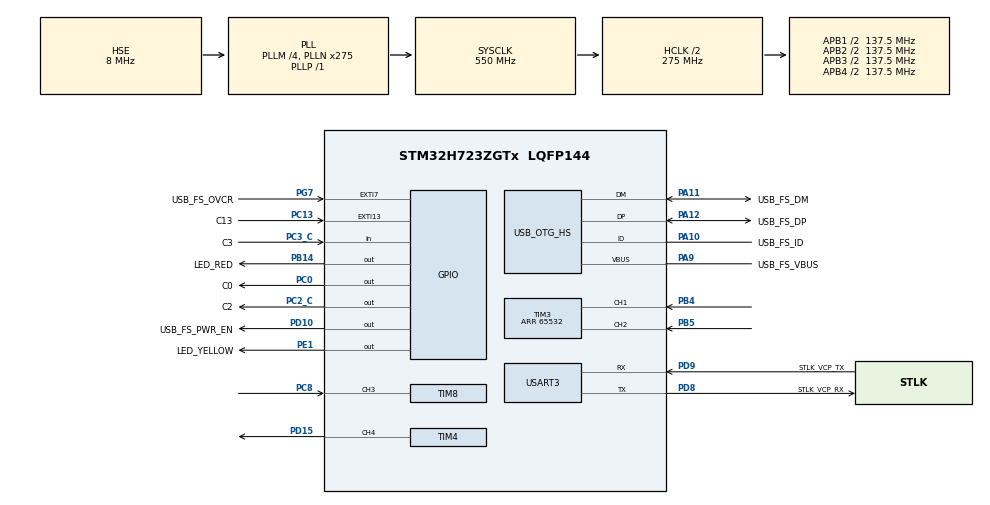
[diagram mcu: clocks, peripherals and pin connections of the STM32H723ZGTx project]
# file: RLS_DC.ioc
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Mcu.Family=STM32H7
Mcu.Name=STM32H723ZGTx
Mcu.Package=LQFP144
NVIC.EXTI15_10_IRQn=true\:0\:0\:false\:false\:true\:true\:true
NVIC.PriorityGroup=NVIC_PRIORITYGROUP_4
NVIC.TIM23_IRQn=true\:0\:0\:false\:false\:true\:true\:true
NVIC.TIM24_IRQn=true\:0\:0\:false\:false\:true\:true\:true
NVIC.TIM2_IRQn=true\:0\:0\:false\:false\:true\:true\:true
PA10.GPIO_Label=USB_FS_ID
PA10.Mode=OTG/Dual-Role-Device-FS
PA10.Signal=USB_OTG_HS_ID
PA11.GPIO_Label=USB_FS_DM
PA11.Mode=OTG/Dual-Role-Device-FS
PA11.Signal=USB_OTG_HS_DM
PA12.GPIO_Label=USB_FS_DP
PA12.Mode=OTG/Dual-Role-Device-FS
PA12.Signal=USB_OTG_HS_DP
PA13(JTMS/SWDIO).GPIO_Label=SWDIO
PA13(JTMS/SWDIO).Mode=Trace_Asynchronous_SW
PA13(JTMS/SWDIO).Signal=DEBUG_JTMS-SWDIO
PA14(JTCK/SWCLK).GPIO_Label=SWCLK
PA14(JTCK/SWCLK).Mode=Trace_Asynchronous_SW
PA14(JTCK/SWCLK).Signal=DEBUG_JTCK-SWCLK
PA2.GPIO_Label=RMII_MDIO
PA2.Signal=ETH_MDIO
PA7.GPIO_Label=RMII_CRS_DV
PA7.Signal=ETH_CRS_DV
PA9.GPIO_Label=USB_FS_VBUS
PA9.Mode=Activate_VBUS_FS
PA9.Signal=USB_OTG_HS_VBUS
PB13.GPIO_Label=RMII_TXD1
PB13.Signal=ETH_TXD1
PB14.GPIO_Label=LED_RED
PB14.Signal=GPIO_Output
PB3(JTDO/TRACESWO).GPIO_Label=SWO
PB3(JTDO/TRACESWO).Mode=Trace_Asynchronous_SW
PB3(JTDO/TRACESWO).Signal=DEBUG_JTDO-SWO
PB4(NJTRST).Signal=S_TIM3_CH1
PB5.Signal=S_TIM3_CH2
PC0.GPIO_Label=C0
PC0.Signal=GPIO_Output
PC1.GPIO_Label=RMII_MDC
PC1.Signal=ETH_MDC
PC13.GPIO_Label=C13
PC13.Signal=GPXTI13
PC14-OSC32_IN.Mode=LSE-External-Oscillator
PC14-OSC32_IN.Signal=RCC_OSC32_IN
PC15-OSC32_OUT.Mode=LSE-External-Oscillator
PC15-OSC32_OUT.Signal=RCC_OSC32_OUT
PC2_C.GPIO_Label=C2
PC2_C.Signal=GPIO_Output
PC3_C.GPIO_Label=C3
PC3_C.Signal=GPIO_Input
PC4.GPIO_Label=RMII_RXD0
PC4.Signal=ETH_RXD0
PC5.GPIO_Label=RMII_RXD1
PC5.Signal=ETH_RXD1
PC8.Signal=S_TIM8_CH3
PD10.GPIO_Label=USB_FS_PWR_EN
PD10.Signal=GPIO_Output
PD15.Signal=S_TIM4_CH4
PD8.GPIO_Label=STLK_VCP_RX
PD8.Mode=Asynchronous
PD8.Signal=USART3_TX
PD9.GPIO_Label=STLK_VCP_TX
PD9.Mode=Asynchronous
PD9.Signal=USART3_RX
PE1.GPIO_Label=LED_YELLOW
PE1.Signal=GPIO_Output
PG11.GPIO_Label=RMII_TX_EN
PG11.Signal=ETH_TX_EN
PG13.GPIO_Label=RMII_TXD0
PG13.Signal=ETH_TXD0
PG7.GPIO_Label=USB_FS_OVCR
PG7.Signal=GPXTI7
PH0-OSC_IN.GPIO_Label=MCO
PH0-OSC_IN.Mode=HSE-External-Clock-Source
PH0-OSC_IN.Signal=RCC_OSC_IN
PH1-OSC_OUT.Signal=RCC_OSC_OUT
ProjectManager.HeapSize=0x200
ProjectManager.StackSize=0x400
ProjectManager.TargetToolchain=STM32CubeIDE
RCC.ADCFreq_Value=76000000
RCC.APB1Freq_Value=137500000
RCC.APB2Freq_Value=137500000
RCC.APB3Freq_Value=137500000
RCC.APB4Freq_Value=137500000
RCC.CortexFreq_Value=550000000
RCC.D1PPRE=RCC_APB3_DIV2
RCC.D2PPRE1=RCC_APB1_DIV2
RCC.D2PPRE2=RCC_APB2_DIV2
RCC.D3PPRE=RCC_APB4_DIV2
RCC.DIVM1=4
RCC.DIVM2=1
RCC.DIVN1=275
RCC.DIVN2=19
RCC.DIVP1=1
RCC.DIVQ1=4
RCC.HCLKFreq_Value=275000000
RCC.HPRE=RCC_HCLK_DIV2
RCC.HSE_VALUE=8000000
RCC.PLLFRACN=0
RCC.PLLSourceVirtual=RCC_PLLSOURCE_HSE
RCC.SYSCLKFreq_VALUE=550000000
RCC.SYSCLKSource=RCC_SYSCLKSOURCE_PLLCLK
RCC.USBCLockSelection=RCC_USBCLKSOURCE_HSI48
RCC.USBFreq_Value=48000000
SH.S_TIM3_CH1.0=TIM3_CH1,Encoder_Interface
SH.S_TIM3_CH2.0=TIM3_CH2,Encoder_Interface
SH.S_TIM4_CH4.0=TIM4_CH4,PWM Generation4 CH4
SH.S_TIM8_CH3.0=TIM8_CH3,Input_Capture3_from_TI3
TIM2.Period=4999
TIM2.Prescaler=549
TIM23.Period=9999
TIM23.Prescaler=549
TIM24.Period=14
TIM24.Prescaler=65530
TIM3.EncoderMode=TIM_ENCODERMODE_TI12
TIM3.IC1Filter=10
TIM3.IC2Filter=10
TIM3.Period=65532
TIM4.Channel-PWM\ Generation4\ CH4=TIM_CHANNEL_4
TIM4.Period=27499
TIM4.Prescaler=99
TIM4.Pulse-PWM\ Generation4\ CH4=0
TIM5.Period=99999
TIM5.Prescaler=5499
TIM8.Channel-Input_Capture3_from_TI3=TIM_CHANNEL_3
TIM8.ICFilter_CH3=10
TIM8.Prescaler=9999
TIM8.RepetitionCounter=10
USART3.VirtualMode-Asynchronous=VM_ASYNC
VP_TIM23_VS_ClockSourceINT.Mode=Internal
VP_TIM24_VS_ClockSourceINT.Mode=Internal
VP_TIM2_VS_ClockSourceINT.Mode=Internal
VP_TIM4_VS_ClockSourceINT.Mode=Internal
VP_TIM5_VS_ClockSourceINT.Mode=Internal
VP_TIM8_VS_ClockSourceINT.Mode=Internal
board=NUCLEO-H723ZG

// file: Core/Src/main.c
/* USER CODE BEGIN Header */
/**
  ******************************************************************************
  * @file           : main.c
  * @brief          : Main program body
  ******************************************************************************
  * @attention
  *
  * <h2><center>&copy; Copyright (c) 2022 STMicroelectronics.
  * All rights reserved.</center></h2>
  *
  * This software component is licensed by ST under BSD 3-Clause license,
  * the "License"; You may not use this file except in compliance with the
  * License. You may obtain a copy of the License at:
  *                        opensource.org/licenses/BSD-3-Clause
  *
  ******************************************************************************
  */
/* USER CODE END Header */
#include "main.h"

/* USER CODE BEGIN Includes */
#define ARM_MATH_CM7
#include "arm_math.h"
#include "RLS.h"

#include "stdint.h"
#include <math.h>
#include <stdbool.h>
#include <stdlib.h>

/* USER CODE END Includes */

TIM_HandleTypeDef htim2;
TIM_HandleTypeDef htim3;
TIM_HandleTypeDef htim4;
TIM_HandleTypeDef htim5;
TIM_HandleTypeDef htim8;
TIM_HandleTypeDef htim23;
TIM_HandleTypeDef htim24;

UART_HandleTypeDef huart3;

/* USER CODE BEGIN PV */
int t = 0 ; // First teta calculation at t == sysorder
int sysorder = 2;

extern arm_matrix_instance_f32 teta;
extern arm_matrix_instance_f32 Xk;
extern arm_matrix_instance_f32 Pn;

float speed_aq (void);

void HAL_TIM_PeriodElapsedCallback(TIM_HandleTypeDef * htim);

float speed = 0;
float input_val = 0;
float Fe = 100;
double DutyC = 0;
int ccr_reg = 0;
int ARR = 27500;
int CCR_old =0;
int CCR_new = 0;

/* USER CODE END PV */

void SystemClock_Config(void);
static void MX_GPIO_Init(void);
static void MX_USART3_UART_Init(void);
static void MX_USB_OTG_HS_USB_Init(void);
static void MX_TIM4_Init(void);
static void MX_TIM3_Init(void);
static void MX_TIM8_Init(void);
static void MX_TIM2_Init(void);
static void MX_TIM5_Init(void);
static void MX_TIM23_Init(void);
static void MX_TIM24_Init(void);

/* USER CODE BEGIN 0 */

float32_t output_est =0;
float * X;

/* USER CODE END 0 */

int main(void)
{
  /* USER CODE BEGIN 1 */
	X = (float*) malloc((2*sysorder)* sizeof(float));
	__HAL_TIM_SET_COMPARE(&htim4,TIM_CHANNEL_4, ccr_reg);

  /* USER CODE END 1 */

  /* MCU Configuration--------------------------------------------------------*/

  /* Reset of all peripherals, Initializes the Flash interface and the Systick. */
  HAL_Init();

  /* Configure the system clock */
  SystemClock_Config();

  /* Initialize all configured peripherals */
  MX_GPIO_Init();
  MX_USART3_UART_Init();
  MX_USB_OTG_HS_USB_Init();
  MX_TIM4_Init();
  MX_TIM3_Init();
  MX_TIM8_Init();
  MX_TIM2_Init();
  MX_TIM5_Init();
  MX_TIM23_Init();
  MX_TIM24_Init();
  /* USER CODE BEGIN 2 */
  init_rls (sysorder);
  init_param_calcul_teta(sysorder);

  HAL_GPIO_WritePin(GPIOC,GPIO_PIN_0,GPIO_PIN_RESET);
  HAL_GPIO_WritePin(GPIOC,GPIO_PIN_2,GPIO_PIN_SET);
  HAL_TIM_PWM_Start(&htim4,TIM_CHANNEL_4);
  HAL_TIM_Encoder_Start(&htim3,TIM_CHANNEL_ALL);
  HAL_TIM_IC_Start (&htim8,TIM_CHANNEL_3);
  HAL_TIM_Base_Start_IT(&htim2);

  /* USER CODE END 2 */

  /* Infinite loop */
  /* USER CODE BEGIN WHILE */
  while (1)
  {
	  speed = speed_aq();
	  output_est =  rep_sys ();

    /* USER CODE END WHILE */

  }
}

void SystemClock_Config(void)
{
  RCC_OscInitTypeDef RCC_OscInitStruct = {0};
  RCC_ClkInitTypeDef RCC_ClkInitStruct = {0};

  /** Supply configuration update enable
  */
  HAL_PWREx_ConfigSupply(PWR_LDO_SUPPLY);
  /** Configure the main internal regulator output voltage
  */
  __HAL_PWR_VOLTAGESCALING_CONFIG(PWR_REGULATOR_VOLTAGE_SCALE0);

  while(!__HAL_PWR_GET_FLAG(PWR_FLAG_VOSRDY)) {}
  /** Initializes the RCC Oscillators according to the specified parameters
  * in the RCC_OscInitTypeDef structure.
  */
  RCC_OscInitStruct.OscillatorType = RCC_OSCILLATORTYPE_HSI48|RCC_OSCILLATORTYPE_HSE;
  RCC_OscInitStruct.HSEState = RCC_HSE_BYPASS;
  RCC_OscInitStruct.HSI48State = RCC_HSI48_ON;
  RCC_OscInitStruct.PLL.PLLState = RCC_PLL_ON;
  RCC_OscInitStruct.PLL.PLLSource = RCC_PLLSOURCE_HSE;
  RCC_OscInitStruct.PLL.PLLM = 4;
  RCC_OscInitStruct.PLL.PLLN = 275;
  RCC_OscInitStruct.PLL.PLLP = 1;
  RCC_OscInitStruct.PLL.PLLQ = 4;
  RCC_OscInitStruct.PLL.PLLR = 2;
  RCC_OscInitStruct.PLL.PLLRGE = RCC_PLL1VCIRANGE_1;
  RCC_OscInitStruct.PLL.PLLVCOSEL = RCC_PLL1VCOWIDE;
  RCC_OscInitStruct.PLL.PLLFRACN = 0;
  if (HAL_RCC_OscConfig(&RCC_OscInitStruct) != HAL_OK)
  {
    Error_Handler();
  }
  /** Initializes the CPU, AHB and APB buses clocks
  */
  RCC_ClkInitStruct.ClockType = RCC_CLOCKTYPE_HCLK|RCC_CLOCKTYPE_SYSCLK
                              |RCC_CLOCKTYPE_PCLK1|RCC_CLOCKTYPE_PCLK2
                              |RCC_CLOCKTYPE_D3PCLK1|RCC_CLOCKTYPE_D1PCLK1;
  RCC_ClkInitStruct.SYSCLKSource = RCC_SYSCLKSOURCE_PLLCLK;
  RCC_ClkInitStruct.SYSCLKDivider = RCC_SYSCLK_DIV1;
  RCC_ClkInitStruct.AHBCLKDivider = RCC_HCLK_DIV2;
  RCC_ClkInitStruct.APB3CLKDivider = RCC_APB3_DIV2;
  RCC_ClkInitStruct.APB1CLKDivider = RCC_APB1_DIV2;
  RCC_ClkInitStruct.APB2CLKDivider = RCC_APB2_DIV2;
  RCC_ClkInitStruct.APB4CLKDivider = RCC_APB4_DIV2;

  if (HAL_RCC_ClockConfig(&RCC_ClkInitStruct, FLASH_LATENCY_3) != HAL_OK)
  {
    Error_Handler();
  }
}

static void MX_TIM2_Init(void)
{

  TIM_ClockConfigTypeDef sClockSourceConfig = {0};
  TIM_MasterConfigTypeDef sMasterConfig = {0};

  htim2.Instance = TIM2;
  htim2.Init.Prescaler = 549;
  htim2.Init.CounterMode = TIM_COUNTERMODE_UP;
  htim2.Init.Period = 4999;
  htim2.Init.ClockDivision = TIM_CLOCKDIVISION_DIV1;
  htim2.Init.AutoReloadPreload = TIM_AUTORELOAD_PRELOAD_DISABLE;
  if (HAL_TIM_Base_Init(&htim2) != HAL_OK)
  {
    Error_Handler();
  }
  sClockSourceConfig.ClockSource = TIM_CLOCKSOURCE_INTERNAL;
  if (HAL_TIM_ConfigClockSource(&htim2, &sClockSourceConfig) != HAL_OK)
  {
    Error_Handler();
  }
  sMasterConfig.MasterOutputTrigger = TIM_TRGO_RESET;
  sMasterConfig.MasterSlaveMode = TIM_MASTERSLAVEMODE_DISABLE;
  if (HAL_TIMEx_MasterConfigSynchronization(&htim2, &sMasterConfig) != HAL_OK)
  {
    Error_Handler();
  }

}

static void MX_TIM3_Init(void)
{

  TIM_Encoder_InitTypeDef sConfig = {0};
  TIM_MasterConfigTypeDef sMasterConfig = {0};

  htim3.Instance = TIM3;
  htim3.Init.Prescaler = 0;
  htim3.Init.CounterMode = TIM_COUNTERMODE_UP;
  htim3.Init.Period = 65532;
  htim3.Init.ClockDivision = TIM_CLOCKDIVISION_DIV1;
  htim3.Init.AutoReloadPreload = TIM_AUTORELOAD_PRELOAD_DISABLE;
  sConfig.EncoderMode = TIM_ENCODERMODE_TI12;
  sConfig.IC1Polarity = TIM_ICPOLARITY_RISING;
  sConfig.IC1Selection = TIM_ICSELECTION_DIRECTTI;
  sConfig.IC1Prescaler = TIM_ICPSC_DIV1;
  sConfig.IC1Filter = 10;
  sConfig.IC2Polarity = TIM_ICPOLARITY_RISING;
  sConfig.IC2Selection = TIM_ICSELECTION_DIRECTTI;
  sConfig.IC2Prescaler = TIM_ICPSC_DIV1;
  sConfig.IC2Filter = 10;
  if (HAL_TIM_Encoder_Init(&htim3, &sConfig) != HAL_OK)
  {
    Error_Handler();
  }
  sMasterConfig.MasterOutputTrigger = TIM_TRGO_RESET;
  sMasterConfig.MasterSlaveMode = TIM_MASTERSLAVEMODE_DISABLE;
  if (HAL_TIMEx_MasterConfigSynchronization(&htim3, &sMasterConfig) != HAL_OK)
  {
    Error_Handler();
  }

}

static void MX_TIM4_Init(void)
{

  TIM_ClockConfigTypeDef sClockSourceConfig = {0};
  TIM_MasterConfigTypeDef sMasterConfig = {0};
  TIM_OC_InitTypeDef sConfigOC = {0};

  htim4.Instance = TIM4;
  htim4.Init.Prescaler = 99;
  htim4.Init.CounterMode = TIM_COUNTERMODE_UP;
  htim4.Init.Period = 27499;
  htim4.Init.ClockDivision = TIM_CLOCKDIVISION_DIV1;
  htim4.Init.AutoReloadPreload = TIM_AUTORELOAD_PRELOAD_DISABLE;
  if (HAL_TIM_Base_Init(&htim4) != HAL_OK)
  {
    Error_Handler();
  }
  sClockSourceConfig.ClockSource = TIM_CLOCKSOURCE_INTERNAL;
  if (HAL_TIM_ConfigClockSource(&htim4, &sClockSourceConfig) != HAL_OK)
  {
    Error_Handler();
  }
  if (HAL_TIM_PWM_Init(&htim4) != HAL_OK)
  {
    Error_Handler();
  }
  sMasterConfig.MasterOutputTrigger = TIM_TRGO_RESET;
  sMasterConfig.MasterSlaveMode = TIM_MASTERSLAVEMODE_DISABLE;
  if (HAL_TIMEx_MasterConfigSynchronization(&htim4, &sMasterConfig) != HAL_OK)
  {
    Error_Handler();
  }
  sConfigOC.OCMode = TIM_OCMODE_PWM1;
  sConfigOC.Pulse = 0;
  sConfigOC.OCPolarity = TIM_OCPOLARITY_HIGH;
  sConfigOC.OCFastMode = TIM_OCFAST_DISABLE;
  if (HAL_TIM_PWM_ConfigChannel(&htim4, &sConfigOC, TIM_CHANNEL_4) != HAL_OK)
  {
    Error_Handler();
  }
  HAL_TIM_MspPostInit(&htim4);

}

static void MX_TIM5_Init(void)
{

  TIM_ClockConfigTypeDef sClockSourceConfig = {0};
  TIM_MasterConfigTypeDef sMasterConfig = {0};

  htim5.Instance = TIM5;
  htim5.Init.Prescaler = 5499;
  htim5.Init.CounterMode = TIM_COUNTERMODE_UP;
  htim5.Init.Period = 99999;
  htim5.Init.ClockDivision = TIM_CLOCKDIVISION_DIV1;
  htim5.Init.AutoReloadPreload = TIM_AUTORELOAD_PRELOAD_DISABLE;
  if (HAL_TIM_Base_Init(&htim5) != HAL_OK)
  {
    Error_Handler();
  }
  sClockSourceConfig.ClockSource = TIM_CLOCKSOURCE_INTERNAL;
  if (HAL_TIM_ConfigClockSource(&htim5, &sClockSourceConfig) != HAL_OK)
  {
    Error_Handler();
  }
  sMasterConfig.MasterOutputTrigger = TIM_TRGO_RESET;
  sMasterConfig.MasterSlaveMode = TIM_MASTERSLAVEMODE_DISABLE;
  if (HAL_TIMEx_MasterConfigSynchronization(&htim5, &sMasterConfig) != HAL_OK)
  {
    Error_Handler();
  }

}

static void MX_TIM8_Init(void)
{

  TIM_ClockConfigTypeDef sClockSourceConfig = {0};
  TIM_MasterConfigTypeDef sMasterConfig = {0};
  TIM_IC_InitTypeDef sConfigIC = {0};

  htim8.Instance = TIM8;
  htim8.Init.Prescaler = 9999;
  htim8.Init.CounterMode = TIM_COUNTERMODE_UP;
  htim8.Init.Period = 65535;
  htim8.Init.ClockDivision = TIM_CLOCKDIVISION_DIV1;
  htim8.Init.RepetitionCounter = 10;
  htim8.Init.AutoReloadPreload = TIM_AUTORELOAD_PRELOAD_DISABLE;
  if (HAL_TIM_Base_Init(&htim8) != HAL_OK)
  {
    Error_Handler();
  }
  sClockSourceConfig.ClockSource = TIM_CLOCKSOURCE_INTERNAL;
  if (HAL_TIM_ConfigClockSource(&htim8, &sClockSourceConfig) != HAL_OK)
  {
    Error_Handler();
  }
  if (HAL_TIM_IC_Init(&htim8) != HAL_OK)
  {
    Error_Handler();
  }
  sMasterConfig.MasterOutputTrigger = TIM_TRGO_RESET;
  sMasterConfig.MasterOutputTrigger2 = TIM_TRGO2_RESET;
  sMasterConfig.MasterSlaveMode = TIM_MASTERSLAVEMODE_DISABLE;
  if (HAL_TIMEx_MasterConfigSynchronization(&htim8, &sMasterConfig) != HAL_OK)
  {
    Error_Handler();
  }
  sConfigIC.ICPolarity = TIM_INPUTCHANNELPOLARITY_RISING;
  sConfigIC.ICSelection = TIM_ICSELECTION_DIRECTTI;
  sConfigIC.ICPrescaler = TIM_ICPSC_DIV1;
  sConfigIC.ICFilter = 10;
  if (HAL_TIM_IC_ConfigChannel(&htim8, &sConfigIC, TIM_CHANNEL_3) != HAL_OK)
  {
    Error_Handler();
  }

}

static void MX_TIM23_Init(void)
{

  TIM_ClockConfigTypeDef sClockSourceConfig = {0};
  TIM_MasterConfigTypeDef sMasterConfig = {0};

  htim23.Instance = TIM23;
  htim23.Init.Prescaler = 549;
  htim23.Init.CounterMode = TIM_COUNTERMODE_UP;
  htim23.Init.Period = 9999;
  htim23.Init.ClockDivision = TIM_CLOCKDIVISION_DIV1;
  htim23.Init.AutoReloadPreload = TIM_AUTORELOAD_PRELOAD_DISABLE;
  if (HAL_TIM_Base_Init(&htim23) != HAL_OK)
  {
    Error_Handler();
  }
  sClockSourceConfig.ClockSource = TIM_CLOCKSOURCE_INTERNAL;
  if (HAL_TIM_ConfigClockSource(&htim23, &sClockSourceConfig) != HAL_OK)
  {
    Error_Handler();
  }
  sMasterConfig.MasterOutputTrigger = TIM_TRGO_RESET;
  sMasterConfig.MasterSlaveMode = TIM_MASTERSLAVEMODE_DISABLE;
  if (HAL_TIMEx_MasterConfigSynchronization(&htim23, &sMasterConfig) != HAL_OK)
  {
    Error_Handler();
  }

}

static void MX_TIM24_Init(void)
{

  TIM_ClockConfigTypeDef sClockSourceConfig = {0};
  TIM_MasterConfigTypeDef sMasterConfig = {0};

  htim24.Instance = TIM24;
  htim24.Init.Prescaler = 65530;
  htim24.Init.CounterMode = TIM_COUNTERMODE_UP;
  htim24.Init.Period = 14;
  htim24.Init.ClockDivision = TIM_CLOCKDIVISION_DIV1;
  htim24.Init.AutoReloadPreload = TIM_AUTORELOAD_PRELOAD_DISABLE;
  if (HAL_TIM_Base_Init(&htim24) != HAL_OK)
  {
    Error_Handler();
  }
  sClockSourceConfig.ClockSource = TIM_CLOCKSOURCE_INTERNAL;
  if (HAL_TIM_ConfigClockSource(&htim24, &sClockSourceConfig) != HAL_OK)
  {
    Error_Handler();
  }
  sMasterConfig.MasterOutputTrigger = TIM_TRGO_RESET;
  sMasterConfig.MasterSlaveMode = TIM_MASTERSLAVEMODE_DISABLE;
  if (HAL_TIMEx_MasterConfigSynchronization(&htim24, &sMasterConfig) != HAL_OK)
  {
    Error_Handler();
  }

}

static void MX_USART3_UART_Init(void)
{

  huart3.Instance = USART3;
  huart3.Init.BaudRate = 115200;
  huart3.Init.WordLength = UART_WORDLENGTH_8B;
  huart3.Init.StopBits = UART_STOPBITS_1;
  huart3.Init.Parity = UART_PARITY_NONE;
  huart3.Init.Mode = UART_MODE_TX_RX;
  huart3.Init.HwFlowCtl = UART_HWCONTROL_NONE;
  huart3.Init.OverSampling = UART_OVERSAMPLING_16;
  huart3.Init.OneBitSampling = UART_ONE_BIT_SAMPLE_DISABLE;
  huart3.Init.ClockPrescaler = UART_PRESCALER_DIV1;
  huart3.AdvancedInit.AdvFeatureInit = UART_ADVFEATURE_NO_INIT;
  if (HAL_UART_Init(&huart3) != HAL_OK)
  {
    Error_Handler();
  }
  if (HAL_UARTEx_SetTxFifoThreshold(&huart3, UART_TXFIFO_THRESHOLD_1_8) != HAL_OK)
  {
    Error_Handler();
  }
  if (HAL_UARTEx_SetRxFifoThreshold(&huart3, UART_RXFIFO_THRESHOLD_1_8) != HAL_OK)
  {
    Error_Handler();
  }
  if (HAL_UARTEx_DisableFifoMode(&huart3) != HAL_OK)
  {
    Error_Handler();
  }

}

static void MX_USB_OTG_HS_USB_Init(void)
{

}

static void MX_GPIO_Init(void)
{
  GPIO_InitTypeDef GPIO_InitStruct = {0};

  /* GPIO Ports Clock Enable */
  __HAL_RCC_GPIOC_CLK_ENABLE();
  __HAL_RCC_GPIOH_CLK_ENABLE();
  __HAL_RCC_GPIOA_CLK_ENABLE();
  __HAL_RCC_GPIOB_CLK_ENABLE();
  __HAL_RCC_GPIOD_CLK_ENABLE();
  __HAL_RCC_GPIOG_CLK_ENABLE();
  __HAL_RCC_GPIOE_CLK_ENABLE();

  /*Configure GPIO pin Output Level */
  HAL_GPIO_WritePin(GPIOC, C0_Pin|C2_Pin, GPIO_PIN_RESET);

  /*Configure GPIO pin Output Level */
  HAL_GPIO_WritePin(LED_RED_GPIO_Port, LED_RED_Pin, GPIO_PIN_RESET);

  /*Configure GPIO pin Output Level */
  HAL_GPIO_WritePin(USB_FS_PWR_EN_GPIO_Port, USB_FS_PWR_EN_Pin, GPIO_PIN_RESET);

  /*Configure GPIO pin Output Level */
  HAL_GPIO_WritePin(LED_YELLOW_GPIO_Port, LED_YELLOW_Pin, GPIO_PIN_RESET);

  /*Configure GPIO pin : C13_Pin */
  GPIO_InitStruct.Pin = C13_Pin;
  GPIO_InitStruct.Mode = GPIO_MODE_IT_RISING;
  GPIO_InitStruct.Pull = GPIO_NOPULL;
  HAL_GPIO_Init(C13_GPIO_Port, &GPIO_InitStruct);

  /*Configure GPIO pins : C0_Pin C2_Pin */
  GPIO_InitStruct.Pin = C0_Pin|C2_Pin;
  GPIO_InitStruct.Mode = GPIO_MODE_OUTPUT_PP;
  GPIO_InitStruct.Pull = GPIO_NOPULL;
  GPIO_InitStruct.Speed = GPIO_SPEED_FREQ_LOW;
  HAL_GPIO_Init(GPIOC, &GPIO_InitStruct);

  /*Configure GPIO pins : RMII_MDC_Pin RMII_RXD0_Pin RMII_RXD1_Pin */
  GPIO_InitStruct.Pin = RMII_MDC_Pin|RMII_RXD0_Pin|RMII_RXD1_Pin;
  GPIO_InitStruct.Mode = GPIO_MODE_AF_PP;
  GPIO_InitStruct.Pull = GPIO_NOPULL;
  GPIO_InitStruct.Speed = GPIO_SPEED_FREQ_LOW;
  GPIO_InitStruct.Alternate = GPIO_AF11_ETH;
  HAL_GPIO_Init(GPIOC, &GPIO_InitStruct);

  /*Configure GPIO pin : C3_Pin */
  GPIO_InitStruct.Pin = C3_Pin;
  GPIO_InitStruct.Mode = GPIO_MODE_INPUT;
  GPIO_InitStruct.Pull = GPIO_NOPULL;
  HAL_GPIO_Init(C3_GPIO_Port, &GPIO_InitStruct);

  /*Configure GPIO pins : RMII_MDIO_Pin RMII_CRS_DV_Pin */
  GPIO_InitStruct.Pin = RMII_MDIO_Pin|RMII_CRS_DV_Pin;
  GPIO_InitStruct.Mode = GPIO_MODE_AF_PP;
  GPIO_InitStruct.Pull = GPIO_NOPULL;
  GPIO_InitStruct.Speed = GPIO_SPEED_FREQ_LOW;
  GPIO_InitStruct.Alternate = GPIO_AF11_ETH;
  HAL_GPIO_Init(GPIOA, &GPIO_InitStruct);

  /*Configure GPIO pin : RMII_TXD1_Pin */
  GPIO_InitStruct.Pin = RMII_TXD1_Pin;
  GPIO_InitStruct.Mode = GPIO_MODE_AF_PP;
  GPIO_InitStruct.Pull = GPIO_NOPULL;
  GPIO_InitStruct.Speed = GPIO_SPEED_FREQ_LOW;
  GPIO_InitStruct.Alternate = GPIO_AF11_ETH;
  HAL_GPIO_Init(RMII_TXD1_GPIO_Port, &GPIO_InitStruct);

  /*Configure GPIO pin : LED_RED_Pin */
  GPIO_InitStruct.Pin = LED_RED_Pin;
  GPIO_InitStruct.Mode = GPIO_MODE_OUTPUT_PP;
  GPIO_InitStruct.Pull = GPIO_NOPULL;
  GPIO_InitStruct.Speed = GPIO_SPEED_FREQ_LOW;
  HAL_GPIO_Init(LED_RED_GPIO_Port, &GPIO_InitStruct);

  /*Configure GPIO pin : USB_FS_PWR_EN_Pin */
  GPIO_InitStruct.Pin = USB_FS_PWR_EN_Pin;
  GPIO_InitStruct.Mode = GPIO_MODE_OUTPUT_PP;
  GPIO_InitStruct.Pull = GPIO_NOPULL;
  GPIO_InitStruct.Speed = GPIO_SPEED_FREQ_LOW;
  HAL_GPIO_Init(USB_FS_PWR_EN_GPIO_Port, &GPIO_InitStruct);

  /*Configure GPIO pin : USB_FS_OVCR_Pin */
  GPIO_InitStruct.Pin = USB_FS_OVCR_Pin;
  GPIO_InitStruct.Mode = GPIO_MODE_IT_RISING;
  GPIO_InitStruct.Pull = GPIO_NOPULL;
  HAL_GPIO_Init(USB_FS_OVCR_GPIO_Port, &GPIO_InitStruct);

  /*Configure GPIO pin : USB_FS_VBUS_Pin */
  GPIO_InitStruct.Pin = USB_FS_VBUS_Pin;
  GPIO_InitStruct.Mode = GPIO_MODE_INPUT;
  GPIO_InitStruct.Pull = GPIO_NOPULL;
  HAL_GPIO_Init(USB_FS_VBUS_GPIO_Port, &GPIO_InitStruct);

  /*Configure GPIO pin : USB_FS_ID_Pin */
  GPIO_InitStruct.Pin = USB_FS_ID_Pin;
  GPIO_InitStruct.Mode = GPIO_MODE_AF_PP;
  GPIO_InitStruct.Pull = GPIO_NOPULL;
  GPIO_InitStruct.Speed = GPIO_SPEED_FREQ_LOW;
  GPIO_InitStruct.Alternate = GPIO_AF10_OTG1_HS;
  HAL_GPIO_Init(USB_FS_ID_GPIO_Port, &GPIO_InitStruct);

  /*Configure GPIO pins : RMII_TX_EN_Pin RMII_TXD0_Pin */
  GPIO_InitStruct.Pin = RMII_TX_EN_Pin|RMII_TXD0_Pin;
  GPIO_InitStruct.Mode = GPIO_MODE_AF_PP;
  GPIO_InitStruct.Pull = GPIO_NOPULL;
  GPIO_InitStruct.Speed = GPIO_SPEED_FREQ_LOW;
  GPIO_InitStruct.Alternate = GPIO_AF11_ETH;
  HAL_GPIO_Init(GPIOG, &GPIO_InitStruct);

  /*Configure GPIO pin : LED_YELLOW_Pin */
  GPIO_InitStruct.Pin = LED_YELLOW_Pin;
  GPIO_InitStruct.Mode = GPIO_MODE_OUTPUT_PP;
  GPIO_InitStruct.Pull = GPIO_NOPULL;
  GPIO_InitStruct.Speed = GPIO_SPEED_FREQ_LOW;
  HAL_GPIO_Init(LED_YELLOW_GPIO_Port, &GPIO_InitStruct);

  /* EXTI interrupt init*/
  HAL_NVIC_SetPriority(EXTI15_10_IRQn, 0, 0);
  HAL_NVIC_EnableIRQ(EXTI15_10_IRQn);

}

/* USER CODE BEGIN 4 */

float speed_aq (void)
{
	  while(! (__HAL_TIM_GET_FLAG(&htim8,TIM_FLAG_CC3))) {}
	  CCR_new = __HAL_TIM_GET_COMPARE(&htim8,TIM_CHANNEL_3);
	  int diff = CCR_new - CCR_old;
	  CCR_old = CCR_new;
	  speed = 154.2746392/ diff; // Rad/s
		//143.320208327- PPR 1205.6
		// 127.0497029 - PPR 1360
		//154.2746392 - PPR 1120
	  return (speed);
}

void HAL_TIM_PeriodElapsedCallback(TIM_HandleTypeDef * htim)
{
	if (t >= sysorder)
	{

		teta_calc (Xk , speed , 0.9995 , sysorder);
	}
	update_X (X , input_val,speed , sysorder);

	t++;
	DutyC =  (((2.2*sin(3.123*(double)(t/Fe)) + 2.3)/4.9) + ((1.7*sin(5.73*(double)(t/Fe)) + 1.8)/3.5) + ((1.4*sin(2.39*(double)(t/Fe)) + 1.4)/2.8))/3;

	input_val =  DutyC * 12 ;
	ccr_reg = (int) round ( DutyC * ARR ) ;
	__HAL_TIM_SET_COMPARE(&htim4,TIM_CHANNEL_4, ccr_reg);

}
/* USER CODE END 4 */

void Error_Handler(void)
{
  __disable_irq();
  while (1)
  {
  }
}

/************************ (C) COPYRIGHT STMicroelectronics *****END OF FILE****/
